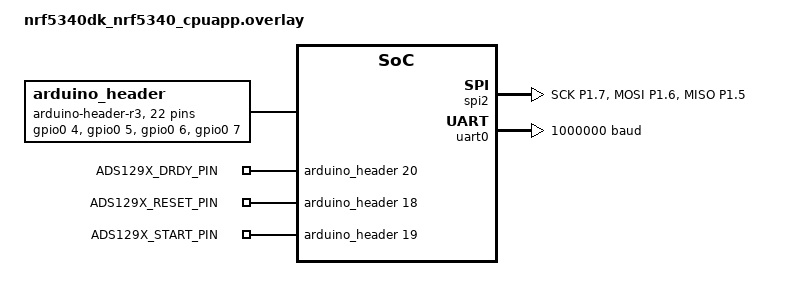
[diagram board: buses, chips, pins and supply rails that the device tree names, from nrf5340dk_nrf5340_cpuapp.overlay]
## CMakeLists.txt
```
#
# Copyright (c) 2018 Nordic Semiconductor
#
# SPDX-License-Identifier: LicenseRef-Nordic-5-Clause
#

cmake_minimum_required(VERSION 3.20.0)

IF(DEFINED CONFIG_BOARD_NRF5340DK_NRF5340_CPUAPP)
set(DTC_OVERLAY_FILE "nrf5340dk_nrf5340_cpuapp.overlay")
ENDIF()

IF(DEFINED CONFIG_BOARD_PARTICLE_XENON)
set(DTC_OVERLAY_FILE "particle_xenon.overlay")
ENDIF()

# load zephyr features and configure project
find_package(Zephyr REQUIRED HINTS $ENV{ZEPHYR_BASE})
project(NONE)

# SERVICE APP START
FILE(GLOB app_service_sources src/app_services/*.c)
zephyr_sources(${app_service_sources})
zephyr_include_directories(include/app_services)
# SERVICE APP END

# NORDIC SDK APP START
FILE(GLOB app_sources src/app/*.c)
target_sources(app PRIVATE ${app_sources})
include_directories("include/app")
# NORDIC SDK APP END

# https://developer.nordicsemi.com/nRF_Connect_SDK/doc/2.0.2/nrf/ug_multi_image.html?highlight=child_image
zephyr_library_include_directories(${ZEPHYR_BASE}/samples/bluetooth)
```

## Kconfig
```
#
# Copyright (c) 2018 Nordic Semiconductor
#
# SPDX-License-Identifier: LicenseRef-Nordic-5-Clause
#

rsource "src/app_services/Kconfig.performance_test"

config ADS129x_RINGBUFF
    bool "Enable ringbuff"
    help
     Enable ringbuff.


config ADS129x_PIPE
    bool "Enable pipe"
    help
     Enable ringbuff.


source "Kconfig.zephyr"
```

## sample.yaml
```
sample:
  name: BLE performance_test
  description: Bluetooth Low Energy performance test sample
tests:
  samples.bluetooth.performance_test:
    build_only: true
    platform_allow: nrf52dk_nrf52832 nrf52840dk_nrf52840 nrf5340dk_nrf5340_cpuapp nrf5340dk_nrf5340_cpuapp_ns particle_xenon
    integration_platforms:
      - nrf52dk_nrf52832
      - nrf52840dk_nrf52840
      - nrf5340dk_nrf5340_cpuapp
      - nrf5340dk_nrf5340_cpuapp_ns
      - particle_xenon
    tags: bluetooth ci_build
```

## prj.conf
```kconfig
#
# Copyright (c) 2018 Nordic Semiconductor
#
# SPDX-License-Identifier: LicenseRef-Nordic-5-Clause
#

CONFIG_SHELL=y

CONFIG_BT_DEVICE_NAME="Nordic_Performance_Test"
CONFIG_BT=y
CONFIG_BT_DEBUG_LOG=y
CONFIG_BT_SMP=y
CONFIG_BT_PERIPHERAL=y
CONFIG_BT_CENTRAL=y
CONFIG_BT_MAX_CONN=2

CONFIG_BT_SCAN=y
CONFIG_BT_SCAN_FILTER_ENABLE=y
CONFIG_BT_SCAN_UUID_CNT=1

CONFIG_BT_PERF_TEST=y

CONFIG_BT_GATT_DM=y
CONFIG_HEAP_MEM_POOL_SIZE=2048

CONFIG_BT_USER_DATA_LEN_UPDATE=y
CONFIG_BT_USER_PHY_UPDATE=y
CONFIG_BT_GAP_AUTO_UPDATE_CONN_PARAMS=n

CONFIG_BT_BUF_ACL_RX_SIZE=251
CONFIG_BT_GATT_CLIENT=y
CONFIG_BT_ATT_PREPARE_COUNT=2
CONFIG_BT_CONN_TX_MAX=10
CONFIG_BT_L2CAP_TX_BUF_COUNT=10
CONFIG_BT_L2CAP_TX_MTU=247
CONFIG_BT_L2CAP_DYNAMIC_CHANNEL=y
CONFIG_BT_CTLR_PHY_2M=y
CONFIG_BT_CTLR_RX_BUFFERS=2
CONFIG_BT_BUF_ACL_TX_COUNT=10
CONFIG_BT_BUF_ACL_TX_SIZE=251
CONFIG_BT_CTLR_DATA_LENGTH_MAX=251

CONFIG_DK_LIBRARY=y
CONFIG_DK_LIBRARY_DYNAMIC_BUTTON_HANDLERS=y
```

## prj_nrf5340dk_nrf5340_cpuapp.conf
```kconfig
#
# Copyright (c) 2019 Nordic Semiconductor
#
# SPDX-License-Identifier: LicenseRef-Nordic-5-Clause
#

CONFIG_BT_DEVICE_NAME="Nordic_Performance_Test"
CONFIG_BT=y
CONFIG_BT_SMP=y
CONFIG_BT_PERIPHERAL=y
CONFIG_BT_CENTRAL=y
CONFIG_BT_MAX_CONN=5
CONFIG_BT_REMOTE_VERSION=y
CONFIG_BT_REMOTE_INFO=y

# rpmsg
# https://docs.zephyrproject.org/3.1.0/connectivity/bluetooth/bluetooth-arch.html?highlight=config_bt_ctlr
CONFIG_BT_RPMSG=y
CONFIG_IPC_SERVICE_BACKEND_RPMSG_WQ_STACK_SIZE=4096
CONFIG_IPC_SERVICE_BACKEND_RPMSG_NUM_ENDPOINTS_PER_INSTANCE=6
CONFIG_NUM_MBOX_ASYNC_MSGS=20
CONFIG_SYSTEM_WORKQUEUE_STACK_SIZE=2048

CONFIG_BT_SCAN=y
CONFIG_BT_SCAN_FILTER_ENABLE=y
CONFIG_BT_SCAN_UUID_CNT=1

# add service
CONFIG_BT_GATT_CLIENT=y
CONFIG_BT_GATT_DM=y
CONFIG_BT_PERF_TEST=y

# add config update possibility
CONFIG_BT_USER_DATA_LEN_UPDATE=y
CONFIG_BT_USER_PHY_UPDATE=y
CONFIG_BT_GAP_AUTO_UPDATE_CONN_PARAMS=n
CONFIG_BT_DATA_LEN_UPDATE=y

# mtu settings
CONFIG_BT_ATT_PREPARE_COUNT=5
CONFIG_BT_L2CAP_TX_BUF_COUNT=5
CONFIG_BT_L2CAP_TX_MTU=498
CONFIG_BT_L2CAP_DYNAMIC_CHANNEL=y
CONFIG_BT_BUF_ACL_RX_COUNT=5
CONFIG_BT_BUF_ACL_TX_COUNT=5
CONFIG_BT_BUF_ACL_TX_SIZE=502
CONFIG_BT_BUF_ACL_RX_SIZE=502
CONFIG_BT_BUF_CMD_TX_COUNT=5
CONFIG_BT_BUF_EVT_RX_SIZE=255
CONFIG_BT_GATT_CACHING=y

## system
CONFIG_HEAP_MEM_POOL_SIZE=8192
# CONFIG_MAIN_STACK_SIZE=16384
# CONFIG_HEAP_MEM_POOL_SIZE=16384
# leds, spi cs and other gpio
CONFIG_GPIO=y
CONFIG_MPU_STACK_GUARD=y
CONFIG_THREAD_NAME=y
CONFIG_SCHED_MULTIQ=y
CONFIG_TICKLESS_KERNEL=y
CONFIG_BOOT_BANNER=n
CONFIG_PIPES=y

## serial
CONFIG_SERIAL=y
CONFIG_STDOUT_CONSOLE=y

## logger
CONFIG_LOG=y
#CONFIG_LOG_MODE_MINIMAL=y
CONFIG_LOG_DEFAULT_LEVEL=3
CONFIG_CBPRINTF_NANO=y
CONFIG_LOG_MODE_DEFERRED=y
CONFIG_LOG_SPEED=y
CONFIG_LOG_BUFFER_SIZE=10240
CONFIG_LOG_PROCESS_THREAD_SLEEP_MS=1
CONFIG_LOG_ALWAYS_RUNTIME=y
CONFIG_LOG_BACKEND_FORMAT_TIMESTAMP=n
CONFIG_LOG_BACKEND_UART=n

## shell
CONFIG_SHELL=y          # add normal shell
CONFIG_SHELL_BACKEND_SERIAL=y
CONFIG_SHELL_METAKEYS=y # add ctrl+c

CONFIG_SHELL_BACKEND_SERIAL_LOG_MESSAGE_QUEUE_TIMEOUT=10
CONFIG_SHELL_BACKEND_SERIAL_LOG_MESSAGE_QUEUE_SIZE=256
CONFIG_SHELL_BACKEND_SERIAL_TX_RING_BUFFER_SIZE=8192
CONFIG_SHELL_BACKEND_SERIAL_RX_RING_BUFFER_SIZE=8192
CONFIG_SHELL_PROMPT_UART=":$ "
CONFIG_SHELL_LOG_BACKEND=y
CONFIG_SHELL_LOG_FORMAT_TIMESTAMP=n
CONFIG_SHELL_BACKEND_SERIAL_CHECK_DTR=n

# spi
# https://github.com/nrfconnect/sdk-zephyr/blob/main/drivers/spi/spi_nrfx_spim.c
# https://devzone.nordicsemi.com/f/nordic-q-a/70105/how-to-use-spi-interface-in-a-zephyr-sample-example
# https://devzone.nordicsemi.com/f/nordic-q-a/69034/nrf52840-spi-slave-configuration-event_handler
CONFIG_SPI=y
CONFIG_SPI_NRFX=y
CONFIG_NRFX_SPIM2=y

## shell
## console driver
CONFIG_NRFX_UARTE0=y


# # add tracing
# # https://blog.golioth.io/taking-the-next-step-debugging-with-segger-ozone-and-systemview-on-zephyr/
# CONFIG_TRACING=y
# CONFIG_TRACING_BACKEND_RAM=y

# CONFIG_LOG_BACKEND_RTT=n
# CONFIG_USE_SEGGER_RTT=y
# CONFIG_TRACING_BUFFER_SIZE=32768
# CONFIG_RAM_TRACING_BUFFER_SIZE=32768
# CONFIG_TRACING_PACKET_MAX_SIZE=512
# CONFIG_TRACING_CMD_BUFFER_SIZE=64
# CONFIG_TRACING_THREAD_WAIT_THRESHOLD=50
# CONFIG_TRACING_ASYNC=y
# CONFIG_TRACING_THREAD_STACK_SIZE=4096

# # use allow for faster data access
# # https://developer.arm.com/documentation/den0042/a/Tightly-Coupled-Memory
# CONFIG_SEGGER_SYSTEMVIEW=y
# CONFIG_SEGGER_SYSTEMVIEW_BOOT_ENABLE=n
# CONFIG_SEGGER_SYSVIEW_RTT_BUFFER_SIZE=32768

# ### debug
# CONFIG_THREAD_ANALYZER=y
# CONFIG_THREAD_ANALYZER_USE_LOG=y
# CONFIG_THREAD_ANALYZER_AUTO=y
# CONFIG_THREAD_ANALYZER_AUTO_INTERVAL=5
# CONFIG_THREAD_NAME=y

# clock settings
# https://github.com/zephyrproject-rtos/zephyr/issues/28469#issuecomment-704164283
# https://developer.nordicsemi.com/nRF_Connect_SDK/doc/latest/zephyr/kernel/services/timing/clocks.html
# https://devzone.nordicsemi.com/f/nordic-q-a/92297/increasing-cpu-clock-frequency-for-bl653
# CONFIG_NRF_RTC_TIMER=n
# CONFIG_CORTEX_M_SYSTICK=y
# CONFIG_SYS_CLOCK_HW_CYCLES_PER_SEC=64000000
# CONFIG_SYS_CLOCK_TICKS_PER_SEC=6400000

CONFIG_ADS129x_RINGBUFF=n
CONFIG_ADS129x_PIPE=y

CONFIG_BT_DEVICE_APPEARANCE=833
CONFIG_BT_MAX_CONN=2
CONFIG_BT_MAX_PAIRED=2

CONFIG_SHELL_BT_NUS=y
CONFIG_SHELL_BT_NUS_LOG_LEVEL_DBG=y
CONFIG_SHELL_BT_NUS_LOG_MESSAGE_QUEUE_SIZE=200
CONFIG_SHELL_BT_NUS_TX_RING_BUFFER_SIZE=220
CONFIG_SHELL_BT_NUS_RX_RING_BUFFER_SIZE=220
```

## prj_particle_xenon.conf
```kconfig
#
# Copyright (c) 2019 Nordic Semiconductor
#
# SPDX-License-Identifier: LicenseRef-Nordic-5-Clause
#

CONFIG_BT_DEVICE_NAME="Nordic_Performance_Test"
CONFIG_BT=y
CONFIG_BT_SMP=y
CONFIG_BT_PERIPHERAL=y
CONFIG_BT_CENTRAL=y
CONFIG_BT_MAX_CONN=5
CONFIG_BT_REMOTE_VERSION=y
CONFIG_BT_REMOTE_INFO=y

CONFIG_BT_SCAN=y
CONFIG_BT_SCAN_FILTER_ENABLE=y
CONFIG_BT_SCAN_UUID_CNT=1

# add service
CONFIG_BT_GATT_CLIENT=y
CONFIG_BT_GATT_DM=y
CONFIG_BT_PERF_TEST=y

# add config update possibility
CONFIG_BT_USER_DATA_LEN_UPDATE=y
CONFIG_BT_USER_PHY_UPDATE=y
CONFIG_BT_GAP_AUTO_UPDATE_CONN_PARAMS=n
CONFIG_BT_DATA_LEN_UPDATE=y

# select ll layer
CONFIG_BT_LL_SW_SPLIT=y
CONFIG_BT_LL_SOFTDEVICE=n

# package sizes and buffers
CONFIG_BT_ATT_PREPARE_COUNT=5
CONFIG_BT_L2CAP_TX_BUF_COUNT=5
CONFIG_BT_L2CAP_TX_MTU=498
CONFIG_BT_L2CAP_DYNAMIC_CHANNEL=y
CONFIG_BT_BUF_ACL_RX_COUNT=5
CONFIG_BT_BUF_ACL_TX_COUNT=5
CONFIG_BT_BUF_ACL_TX_SIZE=502
CONFIG_BT_BUF_ACL_RX_SIZE=502
CONFIG_BT_BUF_CMD_TX_COUNT=5
CONFIG_BT_BUF_EVT_RX_SIZE=255
CONFIG_BT_GATT_CACHING=y

CONFIG_BT_HCI=y
CONFIG_BT_HCI_ACL_FLOW_CONTROL=y
CONFIG_BT_CTLR=y
CONFIG_BT_CTLR_CONN_RSSI=y
CONFIG_BT_CTLR_DATA_LENGTH_MAX=251
CONFIG_BT_CTLR_PHY_2M=y
CONFIG_BT_CTLR_PHY_CODED=y
CONFIG_BT_CTLR_RX_BUFFERS=5
#CONFIG_BT_CTLR_SDC_MAX_CONN_EVENT_LEN_DEFAULT=4000000

## system
CONFIG_HEAP_MEM_POOL_SIZE=8192
# CONFIG_MAIN_STACK_SIZE=16384
# CONFIG_HEAP_MEM_POOL_SIZE=16384

# leds, spi cs and other gpio
CONFIG_GPIO=y
#CONFIG_MPU_STACK_GUARD=y
CONFIG_THREAD_NAME=y
CONFIG_SCHED_MULTIQ=y
CONFIG_TICKLESS_KERNEL=y
CONFIG_BOOT_BANNER=n

## serial
CONFIG_SERIAL=y
CONFIG_STDOUT_CONSOLE=y

## logger
CONFIG_LOG=y
#CONFIG_LOG_MODE_MINIMAL=y
CONFIG_LOG_DEFAULT_LEVEL=3
CONFIG_CBPRINTF_NANO=y
CONFIG_LOG_MODE_DEFERRED=y
CONFIG_LOG_SPEED=y
CONFIG_LOG_BUFFER_SIZE=10240
CONFIG_LOG_PROCESS_THREAD_SLEEP_MS=1
CONFIG_LOG_BACKEND_FORMAT_TIMESTAMP=n
CONFIG_LOG_ALWAYS_RUNTIME=y
CONFIG_LOG_BACKEND_FORMAT_TIMESTAMP=n
CONFIG_LOG_BACKEND_UART=n

## shell
CONFIG_SHELL=y          # add normal shell
CONFIG_SHELL_BACKEND_SERIAL=y
CONFIG_SHELL_METAKEYS=y # add ctrl+c

CONFIG_SHELL_BACKEND_SERIAL_LOG_MESSAGE_QUEUE_TIMEOUT=10
CONFIG_SHELL_BACKEND_SERIAL_LOG_MESSAGE_QUEUE_SIZE=1024
CONFIG_SHELL_BACKEND_SERIAL_TX_RING_BUFFER_SIZE=10240
CONFIG_SHELL_BACKEND_SERIAL_RX_RING_BUFFER_SIZE=10240
CONFIG_SHELL_PROMPT_UART=":$ "
CONFIG_SHELL_LOG_BACKEND=y
CONFIG_SHELL_LOG_FORMAT_TIMESTAMP=n
CONFIG_SHELL_BACKEND_SERIAL_CHECK_DTR=n

## spi
# no spi needed

## shell
# console driver
CONFIG_USB_NRFX=y

# Enable USB CDC ACM
CONFIG_USB_DEVICE_STACK=y
CONFIG_USB_DEVICE_REMOTE_WAKEUP=n
CONFIG_USB_CDC_ACM=y
CONFIG_UART_LINE_CTRL=y
CONFIG_SHELL_BACKEND_SERIAL_INIT_PRIORITY=51
#CONFIG_SHELL_BACKEND_SERIAL_CHECK_DTR=y
CONFIG_USB_DEVICE_VID=0x1D50
CONFIG_USB_DEVICE_PID=0x615E
CONFIG_USB_DEVICE_PRODUCT="Particle Slave BLE Tester"

# # add tracing
# # https://blog.golioth.io/taking-the-next-step-debugging-with-segger-ozone-and-systemview-on-zephyr/
# CONFIG_TRACING=y
# CONFIG_TRACING_BACKEND_RAM=y

# CONFIG_LOG_BACKEND_RTT=n
# CONFIG_USE_SEGGER_RTT=y
# CONFIG_TRACING_BUFFER_SIZE=32768
# CONFIG_RAM_TRACING_BUFFER_SIZE=32768
# CONFIG_TRACING_PACKET_MAX_SIZE=512
# CONFIG_TRACING_CMD_BUFFER_SIZE=64
# CONFIG_TRACING_THREAD_WAIT_THRESHOLD=50
# CONFIG_TRACING_ASYNC=y
# CONFIG_TRACING_THREAD_STACK_SIZE=4096

# # use allow for faster data access
# # https://developer.arm.com/documentation/den0042/a/Tightly-Coupled-Memory
# CONFIG_SEGGER_SYSTEMVIEW=y
# CONFIG_SEGGER_SYSTEMVIEW_BOOT_ENABLE=n
# CONFIG_SEGGER_SYSVIEW_RTT_BUFFER_SIZE=32768

# ### debug
# CONFIG_THREAD_ANALYZER=y
# CONFIG_THREAD_ANALYZER_USE_LOG=y
# CONFIG_THREAD_ANALYZER_AUTO=y
# CONFIG_THREAD_ANALYZER_AUTO_INTERVAL=5
# CONFIG_THREAD_NAME=y
```

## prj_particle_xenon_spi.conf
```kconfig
#
# Copyright (c) 2019 Nordic Semiconductor
#
# SPDX-License-Identifier: LicenseRef-Nordic-5-Clause
#

CONFIG_BT_DEVICE_NAME="Nordic_Performance_Test"
CONFIG_BT=y
CONFIG_BT_SMP=y
CONFIG_BT_PERIPHERAL=y
CONFIG_BT_CENTRAL=y
CONFIG_BT_MAX_CONN=2
# CONFIG_BT_DEBUG_LOG=y

# hci
CONFIG_BT_HCI=y
CONFIG_BT_HCI_ACL_FLOW_CONTROL=y
# CONFIG_BT_DEBUG_HCI_DRIVER=y


CONFIG_BT_SCAN=y
CONFIG_BT_SCAN_FILTER_ENABLE=y
CONFIG_BT_SCAN_UUID_CNT=1

# add service
CONFIG_BT_GATT_CLIENT=y
CONFIG_BT_GATT_DM=y
CONFIG_BT_PERF_TEST=y
CONFIG_BT_PERF_TEST_LOG_LEVEL_INF=y

# add config update possibility
CONFIG_BT_USER_DATA_LEN_UPDATE=y
CONFIG_BT_USER_PHY_UPDATE=y
CONFIG_BT_GAP_AUTO_UPDATE_CONN_PARAMS=n
CONFIG_BT_DATA_LEN_UPDATE=y

# select ll layer
CONFIG_BT_LL_SW_SPLIT=y
CONFIG_BT_LL_SOFTDEVICE=n

# mtu settings
CONFIG_BT_ATT_PREPARE_COUNT=7
CONFIG_BT_L2CAP_TX_BUF_COUNT=5
CONFIG_BT_L2CAP_TX_MTU=498
CONFIG_BT_L2CAP_DYNAMIC_CHANNEL=y
CONFIG_BT_BUF_ACL_RX_COUNT=5
CONFIG_BT_BUF_ACL_TX_COUNT=5
CONFIG_BT_BUF_ACL_TX_SIZE=502
CONFIG_BT_BUF_ACL_RX_SIZE=502
CONFIG_BT_BUF_CMD_TX_COUNT=5
CONFIG_BT_BUF_EVT_RX_SIZE=255
CONFIG_BT_GATT_CACHING=y


# controler settings
CONFIG_BT_CTLR=y
CONFIG_BT_CTLR_CONN_RSSI=y
CONFIG_BT_CTLR_DATA_LENGTH_MAX=251
CONFIG_BT_CTLR_PHY_2M=y
CONFIG_BT_CTLR_PHY_CODED=y
CONFIG_BT_CTLR_RX_BUFFERS=2
#CONFIG_BT_CTLR_SDC_MAX_CONN_EVENT_LEN_DEFAULT=4000000

## system
CONFIG_HEAP_MEM_POOL_SIZE=8192
# CONFIG_MAIN_STACK_SIZE=16384
# CONFIG_HEAP_MEM_POOL_SIZE=16384

# leds, spi cs and other gpio
CONFIG_GPIO=y
CONFIG_MPU_STACK_GUARD=y
CONFIG_FPU=y
CONFIG_BOOT_DELAY=500
CONFIG_THREAD_NAME=y
CONFIG_SCHED_MULTIQ=y
CONFIG_TICKLESS_KERNEL=y

## usb
# driver
CONFIG_USB_NRFX=y
CONFIG_NRFX_UARTE0=y

# subsys
CONFIG_USB_CDC_ACM=y
CONFIG_USB_DEVICE_VID=0x1D50
CONFIG_USB_DEVICE_PID=0x615E
CONFIG_USB_DEVICE_STACK=y
CONFIG_USB_DEVICE_PRODUCT="Particle Slave BLE Tester"
CONFIG_USB_CDC_ACM_RINGBUF_SIZE=4096

## serial
CONFIG_STDOUT_CONSOLE=y

## shell
CONFIG_SHELL=y          # add normal shell
CONFIG_SHELL_METAKEYS=y # add ctrl+c

## logger
CONFIG_LOG=y
CONFIG_LOG_DEFAULT_LEVEL=4
CONFIG_LOG_SPEED=y
CONFIG_LOG_BUFFER_SIZE=4096

# spi
# https://github.com/nrfconnect/sdk-zephyr/blob/main/drivers/spi/spi_nrfx_spim.c
# https://devzone.nordicsemi.com/f/nordic-q-a/70105/how-to-use-spi-interface-in-a-zephyr-sample-example
# https://devzone.nordicsemi.com/f/nordic-q-a/69034/nrf52840-spi-slave-configuration-event_handler
CONFIG_SPI=y
CONFIG_SPI_NRFX=y
CONFIG_NRFX_SPIM1=y

# add tracing
# https://blog.golioth.io/taking-the-next-step-debugging-with-segger-ozone-and-systemview-on-zephyr/
CONFIG_TRACING=y
CONFIG_TRACING_BACKEND_RAM=y

CONFIG_LOG_BACKEND_RTT=n
CONFIG_USE_SEGGER_RTT=y
CONFIG_TRACING_BUFFER_SIZE=32768
CONFIG_RAM_TRACING_BUFFER_SIZE=32768
CONFIG_TRACING_PACKET_MAX_SIZE=512
CONFIG_TRACING_CMD_BUFFER_SIZE=64
CONFIG_TRACING_THREAD_WAIT_THRESHOLD=50
CONFIG_TRACING_ASYNC=y
CONFIG_TRACING_THREAD_STACK_SIZE=2048

# use allow for faster data access
# https://developer.arm.com/documentation/den0042/a/Tightly-Coupled-Memory
CONFIG_SEGGER_SYSTEMVIEW=y
CONFIG_SEGGER_SYSTEMVIEW_BOOT_ENABLE=y
CONFIG_SEGGER_SYSVIEW_RTT_BUFFER_SIZE=32768
```

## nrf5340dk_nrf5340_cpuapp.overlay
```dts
&wdt {
    status = "disabled";
};

&wdt1 {
    status = "disabled";
};

&i2c1 {
    status = "disabled";
};

&pwm0 {
    status = "disabled";
};


&pinctrl {
    spi2_default_alt: spi2_default_alt {
        group1 {
            psels = <NRF_PSEL(SPIM_SCK, 1, 7)>,
                    <NRF_PSEL(SPIM_MOSI, 1, 6)>,
                    <NRF_PSEL(SPIM_MISO, 1, 5)>;
        };
    };

};

&spi1 {
    status = "disabled";
};

mbox: &ipc {
	interrupts = <42 3>;
};

nrf53_spi: &spi2 {
    compatible = "nordic,nrf-spim";
    status = "okay";
    cs-gpios = <&gpio1 4 GPIO_ACTIVE_LOW>;
    interrupts = <11 5>;
    pinctrl-0 = <&spi2_default_alt>;
    pinctrl-names = "default";
    miso-pull-down;
};


&spi3 {
    status = "disabled";
};

&spi4 {
    status = "disabled";
};

&qspi {
    status = "disabled";
};

&adc {
    status = "disabled";
};

// https://devzone.nordicsemi.com/f/nordic-q-a/84204/framing-error-and-noisy-data-when-using-uarte-at-high-baud-rate/350747
&uart0 {
    status = "okay";
    compatible = "nordic,nrf-uarte";
    current-speed = <1000000>;
    interrupts = <8 4>;
    pinctrl-0 = <&uart0_default>;
    pinctrl-1 = <&uart0_sleep>;
    pinctrl-names = "default", "sleep";
    /delete-property/ rts-pin;
    /delete-property/ cts-pin;
};

&gpiote1 {
    interrupts = <47 2>;
};

/ {
    arduino_header: connector {
        compatible = "arduino-header-r3";
        #gpio-cells = <2>;
        gpio-map-mask = <0xffffffff 0xffffffc0>;
        gpio-map-pass-thru = <0 0x3f>;
        gpio-map = <0 0 &gpio0 4 0>,	/* A0 */
            <1 0 &gpio0 5 0>,	/* A1 */
            <2 0 &gpio0 6 0>,	/* A2 */
            <3 0 &gpio0 7 0>,	/* A3 */
            <4 0 &gpio0 25 0>,	/* A4 */
            <5 0 &gpio0 26 0>,	/* A5 */

            <6 0 &gpio1 0 0>,	/* D0 */
            <7 0 &gpio1 1 0>,	/* D1 */
            <8 0 &gpio1 4 0>,	/* D2 */
            <9 0 &gpio1 5 0>,	/* D3 */
            <10 0 &gpio1 6 0>,	/* D4 */
            <11 0 &gpio1 7 0>,	/* D5 */
            <12 0 &gpio1 8 0>,	/* D6 */
            <13 0 &gpio1 9 0>,	/* D7 */

            <14 0 &gpio1 10 0>,	/* D8 */
            <15 0 &gpio1 11 0>,	/* D9 */
            <16 0 &gpio1 12 0>,	/* D10 */
            <17 0 &gpio1 13 0>,	/* D11 */
            <18 0 &gpio1 14 0>,	/* D12 */
            <19 0 &gpio1 15 0>,	/* D13 */
            /* GND */
            <20 0 &gpio1 2 0>,	/* D15 */
            <21 0 &gpio1 3 0>;	/* D16 */
    };

    intput_pins {
        /*
         * GPIO interupts are defined in GPIOE
         * it's becasue all NRFX events are redirected form this module
         */
        compatible = "gpio-keys";
        ads129x_drdy: ads129x_drdy {
            gpios = <&arduino_header 20 GPIO_ACTIVE_HIGH>;
            label = "ADS129X_DRDY_PIN";
        };
    };

    output_pins {
        compatible = "gpio-leds";
        ads129x_reset: ads129x_reset {
            gpios = <&arduino_header 18 GPIO_ACTIVE_HIGH>;
            label = "ADS129X_RESET_PIN";
        };

        ads129x_start: ads129x_start {
            gpios = <&arduino_header 19 GPIO_ACTIVE_HIGH>;
            label = "ADS129X_START_PIN";
        };
    };

    /* disable other resources */
    pwmleds {
        compatible = "pwm-leds";
        pwm_led0: pwm_led_0 {
            status = "disabled";
        };
    };

    buttons {
        button0: button_0 {
            status = "disabled";
        };
        button1: button_1 {
            status = "disabled";
        };
        button2: button_2 {
            status = "disabled";
        };
        button3: button_3 {
            status = "disabled";
        };
    };

    // chosen {
    //     zephyr,console = &cdc_acm_1;
    // };
};
```

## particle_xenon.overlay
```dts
&uart0 {
    /delete-property/ rts-pin;
    /delete-property/ cts-pin;
    status = "disabled";
};

zephyr_udc0: &usbd {
    compatible = "nordic,nrf-usbd";
    status = "okay";
    cdc_acm_uart0: cdc_acm_uart0 {
        status = "okay";
        compatible = "zephyr,cdc-acm-uart";
    };
};

feather_adc: &adc {
	status = "disabled";
};

feather_i2c: &i2c0 {
    status = "disabled";
};

&pinctrl {
	spi1_default: spi1_default {
		group1 {
			psels = <NRF_PSEL(SPIM_SCK, 1, 15)>,
				<NRF_PSEL(SPIM_MOSI, 1, 13)>,
				<NRF_PSEL(SPIM_MISO, 1, 14)>;
		};
	};
};


nrf53_spi: &spi1 { /* feather SPI */
	compatible = "nordic,nrf-spim";
	status = "okay";
	pinctrl-0 = <&spi1_default>;
	pinctrl-names = "default";
	cs-gpios = <&gpio0 31 GPIO_ACTIVE_LOW>;
    miso-pull-down;
};

/ {
    intput_pins {
        compatible = "gpio-keys";
        ads129x_drdy: ads129x_drdy {
            gpios = <&mesh_header 17 GPIO_ACTIVE_HIGH>;
            label = "ADS129X_DRDY_PIN";
        };
    };

    output_pins {
        compatible = "gpio-leds";
        ads129x_reset: ads129x_reset {
            gpios = <&mesh_header 18 GPIO_ACTIVE_HIGH>;
            label = "ADS129X_RESET_PIN";
        };

        ads129x_start: ads129x_start {
            gpios = <&mesh_header 19 GPIO_ACTIVE_HIGH>;
            label = "ADS129X_START_PIN";
        };
    };

    chosen {
        zephyr,console = &cdc_acm_uart0;
        zephyr,shell-uart = &cdc_acm_uart0;
    };
};
```

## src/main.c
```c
/*
 * Copyright (c) 2018 Nordic Semiconductor ASA
 *
 * SPDX-License-Identifier: LicenseRef-Nordic-5-Clause
 */

#include <kernel.h>
#include <sys/printk.h>
#include <string.h>
#include <stdlib.h>

#include <app_usb.h>
#include <cmds.h>
#include <pio.h>
#include <bt_test.h>

void main(void)
{
    bt_init();
    app_usb_init();
    buttons_init();

    printk("\n");
    printk("Press button 1 on the master board.\n");
    printk("Press button 2 on the slave board.\n");
}
```

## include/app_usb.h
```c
#ifndef _APP_USB_H_

void app_usb_init(void);

#endif // _APP_USB_H_
```

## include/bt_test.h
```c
#ifndef _BT_TEST_H_
#define _BT_TEST_H_

#include <bluetooth/bluetooth.h>
#include <bluetooth/crypto.h>
#include <bluetooth/conn.h>
#include <bluetooth/gatt.h>
#include <bluetooth/hci.h>
#include <bluetooth/uuid.h>
#include <bluetooth/services/throughput.h>
#include <bluetooth/scan.h>
#include <bluetooth/gatt_dm.h>

#include <shell/shell.h>

#define DEVICE_NAME	CONFIG_BT_DEVICE_NAME
#define DEVICE_NAME_LEN (sizeof(DEVICE_NAME) - 1)
#define THROUGHPUT_CONFIG_TIMEOUT K_SECONDS(20)

void bt_init(void);
struct bt_conn* getSettings(void);
volatile bool isTestReady(void);

void scan_start(void);
void adv_start(void);

int connection_configuration_set(const struct shell *shell,
                                 const struct bt_le_conn_param *conn_param,
                                 const struct bt_conn_le_phy_param *phy,
                                 const struct bt_conn_le_data_len_param *data_len);


extern struct bt_throughput throughput;
extern struct k_sem throughput_sem;
#endif /* _BT_TEST_H_ */
```

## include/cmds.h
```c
#ifndef _CMDS_H_
#define _CMDS_H_

#include <bluetooth/conn.h>

#include <errno.h>
#include <shell/shell.h>
#include <zephyr/types.h>
#include <sys/printk.h>

#include <stdlib.h>

#define INTERVAL_MIN 0x004 /*   4 units,  10 ms */
#define INTERVAL_MAX 0x140 /* 320 units, 400 ms */
#define CONN_LATENCY 0
#define UNIT_SCALER  1.25

#define MIN_CONN_INTERVAL   6
#define MAX_CONN_INTERVAL   3200
#define SUPERVISION_TIMEOUT 1000

enum CONNECTION_MODE {
	CONNECTION_MASTER,
	CONNECTION_SLAVE
};
typedef struct {
	struct bt_le_conn_param *conn_param;
	struct bt_conn_le_phy_param *phy;
	struct bt_conn_le_data_len_param *data_len;
	bool   enable_rssi;
} test_params_t;

void instruction_print(void);

#endif /* _CMDS_H_ */
```

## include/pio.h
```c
#ifndef _PIO_H_
#define _PIO_H_

void buttons_init(void);



#endif /* _PIO_H_ */
```

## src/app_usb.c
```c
/**
 * @file
 * @brief Sample echo app for CDC ACM class
 *
 * Sample app for USB CDC ACM class driver. The received data is echoed back
 * to the serial port.
 */

#include <device.h>
#include <zephyr.h>

#include <usb/usb_device.h>

/*
 * Copyright (c) 2019 Intel Corporation
 *
 * SPDX-License-Identifier: Apache-2.0
 */

/**
 * @file
 * @brief Sample echo app for CDC ACM class
 *
 * Sample app for USB CDC ACM class driver. The received data is echoed back
 * to the serial port.
 */

#include <app_usb.h>
#include <stdio.h>
#include <string.h>
#include <device.h>
#include <zephyr.h>
#include <nrfx.h>
#include <usb/usb_device.h>
#include <sys/printk.h>

void app_usb_init(void)
{
#ifdef CONFIG_BOARD_PARTICLE_XENON

	const struct device *dev;
	int ret = 0;

	dev = DEVICE_DT_GET(DT_CHOSEN(zephyr_console));
	if (!device_is_ready(dev)) {
		printk("CDC ACM device not ready");
		return;
	}

	ret = usb_enable(NULL);
	if (ret != 0) {
		printk("Failed to enable USB");
		return;
	}

#endif
}
```

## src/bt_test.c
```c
#include <bt_test.h>
#include <zephyr/types.h>
#include <cmds.h>
#include <sys/byteorder.h>

K_SEM_DEFINE(performance_test_sem, 0, 1);

static volatile bool data_length_req;
static volatile bool test_ready;
struct bt_conn *default_conn;
static struct bt_uuid *uuid128 = BT_UUID_PERF_TEST;
static struct bt_gatt_exchange_params exchange_params;
static struct bt_le_conn_param *conn_param = BT_LE_CONN_PARAM(INTERVAL_MIN, INTERVAL_MAX, 0, 400);

struct bt_performance_test performance_test;
extern const struct bt_performance_test_cb performance_test_cb;

struct bt_conn* getSettings(void) {
    return default_conn;
}

volatile bool isTestReady(void) {
    return test_ready;
}


static const struct bt_data ad[] = {
    BT_DATA_BYTES(BT_DATA_FLAGS, (BT_LE_AD_GENERAL | BT_LE_AD_NO_BREDR)),
    BT_DATA_BYTES(BT_DATA_UUID128_ALL,
        0xBB, 0x4A, 0xFF, 0x4F, 0xAD, 0x03, 0x41, 0x5D,
        0xA9, 0x6C, 0x9D, 0x6C, 0xDD, 0xDA, 0x83, 0x04),
};

static const struct bt_data sd[] = {
    BT_DATA(BT_DATA_NAME_COMPLETE, DEVICE_NAME, DEVICE_NAME_LEN),
};

static const char *phy2str(uint8_t phy)
{
    switch (phy) {
    case 0: return "No packets";
    case BT_GAP_LE_PHY_1M: return "LE 1M";
    case BT_GAP_LE_PHY_2M: return "LE 2M";
    case BT_GAP_LE_PHY_CODED: return "LE Coded";
    default: return "Unknown";
    }
}

// ##### SCAN

void scan_filter_match(struct bt_scan_device_info *device_info,
               struct bt_scan_filter_match *filter_match,
               bool connectable)
{
    char addr[BT_ADDR_LE_STR_LEN];

    bt_addr_le_to_str(device_info->recv_info->addr, addr, sizeof(addr));

    printk("Filters matched. Address: %s connectable: %d\n",
        addr, connectable);
}

void scan_filter_no_match(struct bt_scan_device_info *device_info,
              bool connectable)
{
    char addr[BT_ADDR_LE_STR_LEN];

    bt_addr_le_to_str(device_info->recv_info->addr, addr, sizeof(addr));

    printk("Filter not match. Address: %s connectable: %d\n",
                addr, connectable);
}

void scan_connecting_error(struct bt_scan_device_info *device_info)
{
    printk("Connecting failed\n");
}

BT_SCAN_CB_INIT(scan_cb, scan_filter_match, scan_filter_no_match,
        scan_connecting_error, NULL);

// ##### End

static void exchange_func(struct bt_conn *conn, uint8_t att_err,
              struct bt_gatt_exchange_params *params)
{
    struct bt_conn_info info = {0};
    int err;

    printk("MTU exchange %s\n", att_err == 0 ? "successful" : "failed");

    err = bt_conn_get_info(conn, &info);
    if (err) {
        printk("Failed to get connection info %d\n", err);
        return;
    }

    if (info.role == BT_CONN_ROLE_CENTRAL) {
        instruction_print();
        test_ready = true;
    }
}

static void discovery_complete(struct bt_gatt_dm *dm,
                   void *context)
{
    int err;
    struct bt_performance_test *performance_test = context;

    printk("Service discovery completed\n");

    bt_gatt_dm_data_print(dm);
    bt_performance_test_handles_assign(dm, performance_test);
    bt_gatt_dm_data_release(dm);

    exchange_params.func = exchange_func;

    err = bt_gatt_exchange_mtu(default_conn, &exchange_params);
    if (err) {
        printk("MTU exchange failed (err %d)\n", err);
    } else {
        printk("MTU exchange pending\n");
    }
}

static void discovery_service_not_found(struct bt_conn *conn,
                    void *context)
{
    printk("Service not found\n");
}

static void discovery_error(struct bt_conn *conn,
                int err,
                void *context)
{
    printk("Error while discovering GATT database: (%d)\n", err);
}

struct bt_gatt_dm_cb discovery_cb = {
    .completed         = discovery_complete,
    .service_not_found = discovery_service_not_found,
    .error_found       = discovery_error,
};

static void connected(struct bt_conn *conn, uint8_t hci_err)
{
    struct bt_conn_info info = {0};
    int err;

    if (hci_err) {
        if (hci_err == BT_HCI_ERR_UNKNOWN_CONN_ID) {
            /* Canceled creating connection */
            return;
        }

        printk("Connection failed (err 0x%02x)\n", hci_err);
        return;
    }

    if (default_conn) {
        printk("Connection exists, disconnect second connection\n");
        bt_conn_disconnect(conn, BT_HCI_ERR_REMOTE_USER_TERM_CONN);
        return;
    }

    default_conn = bt_conn_ref(conn);

    err = bt_conn_get_info(default_conn, &info);
    if (err) {
        printk("Failed to get connection info %d\n", err);
        return;
    }

    printk("Connected as %s\n", info.role == BT_CONN_ROLE_CENTRAL ? "central" : "peripheral");
    printk("Conn. interval is %u units (%u ms)\n", info.le.interval, (uint32_t)(info.le.interval*UNIT_SCALER));

    if (info.role == BT_CONN_ROLE_CENTRAL) {
        err = bt_gatt_dm_start(default_conn,
                       BT_UUID_PERF_TEST,
                       &discovery_cb,
                       &performance_test);

        if (err) {
            printk("Discover failed (err %d)\n", err);
        }
    }
}

static void scan_init(void)
{
    int err;
    struct bt_le_scan_param scan_param = {
        .type = BT_LE_SCAN_TYPE_PASSIVE,
        .options = BT_LE_SCAN_OPT_FILTER_DUPLICATE,
        .interval = 0x0010,
        .window = 0x0010,
    };

    struct bt_scan_init_param scan_init = {
        .connect_if_match = 1,
        .scan_param = &scan_param,
        .conn_param = conn_param
    };

    bt_scan_init(&scan_init);
    bt_scan_cb_register(&scan_cb);

    err = bt_scan_filter_add(BT_SCAN_FILTER_TYPE_UUID, uuid128);
    if (err) {
        printk("Scanning filters cannot be set\n");

        return;
    }

    err = bt_scan_filter_enable(BT_SCAN_UUID_FILTER, false);
    if (err) {
        printk("Filters cannot be turned on\n");
    }
}

void scan_start(void)
{
    // think of bt_le_scan_start
    int err = bt_scan_start(BT_SCAN_TYPE_SCAN_PASSIVE);
    if (err) {
        printk("Starting scanning failed (err %d)\n", err);
        return;
    }
}

void adv_start(void)
{
    struct bt_le_adv_param *adv_param =
        BT_LE_ADV_PARAM(BT_LE_ADV_OPT_CONNECTABLE | BT_LE_ADV_OPT_ONE_TIME,
                BT_GAP_ADV_FAST_INT_MIN_2,
                BT_GAP_ADV_FAST_INT_MAX_2,
                NULL);
    int err;

    err = bt_le_adv_start(adv_param, ad, ARRAY_SIZE(ad), sd,
                  ARRAY_SIZE(sd));
    if (err) {
        printk("Failed to start advertiser (%d)\n", err);
        return;
    }
}

static void disconnected(struct bt_conn *conn, uint8_t reason)
{
    struct bt_conn_info info = {0};
    int err;

    printk("Disconnected (reason 0x%02x)\n", reason);

    test_ready = false;
    if (default_conn) {
        bt_conn_unref(default_conn);
        default_conn = NULL;
    }

    err = bt_conn_get_info(conn, &info);
    if (err) {
        printk("Failed to get connection info (%d)\n", err);
        return;
    }

    /* Re-connect using same roles */
    if (info.role == BT_CONN_ROLE_CENTRAL) {
        scan_start();
    } else {
        adv_start();
    }
}

static bool le_param_req(struct bt_conn *conn, struct bt_le_conn_param *param)
{
    printk("Connection parameters update request received.\n");
    printk("Minimum interval: %d (%d ms), Maximum interval: %d (%d ms)\n",	param->interval_min,
                                                                            (uint32_t)(param->interval_min*UNIT_SCALER),
                                                                            param->interval_max,
                                                                            (uint32_t)(param->interval_max*UNIT_SCALER));
    printk("Latency: %d, Timeout: %d\n", param->latency, param->timeout);

    return true;
}

static void le_param_updated(struct bt_conn *conn, uint16_t interval,
                 uint16_t latency, uint16_t timeout)
{
    printk("Connection parameters updated.\n"
           " interval: %d (%d ms), latency: %d, timeout: %d\n",
           interval,  (uint32_t)(interval*UNIT_SCALER), latency, timeout);

    k_sem_give(&performance_test_sem);
}

static void le_phy_updated(struct bt_conn *conn,
               struct bt_conn_le_phy_info *param)
{
    printk("LE PHY updated: TX PHY %s, RX PHY %s\n",
           phy2str(param->tx_phy), phy2str(param->rx_phy));

    k_sem_give(&performance_test_sem);
}

static void le_data_length_updated(struct bt_conn *conn,
                   struct bt_conn_le_data_len_info *info)
{
    if (!data_length_req) {
        return;
    }

    printk("LE data len updated: TX (len: %d time: %d)"
           " RX (len: %d time: %d)\n", info->tx_max_len,
           info->tx_max_time, info->rx_max_len, info->rx_max_time);

    data_length_req = false;
    k_sem_give(&performance_test_sem);
}

int connection_configuration_set(const struct shell *shell,
            const struct bt_le_conn_param *conn_param,
            const struct bt_conn_le_phy_param *phy,
            const struct bt_conn_le_data_len_param *data_len)
{
    int err;
    struct bt_conn_info info = {0};

    err = bt_conn_get_info(default_conn, &info);
    if (err) {
        shell_error(shell, "Failed to get connection info %d", err);
        return err;
    }

    if (info.role != BT_CONN_ROLE_CENTRAL) {
        shell_error(shell,
        "'run' command shall be executed only on the master board");
    }

    err = bt_conn_le_phy_update(default_conn, phy);
    if (err) {
        shell_error(shell, "PHY update failed: %d\n", err);
        return err;
    }

    shell_print(shell, "PHY update pending");
    err = k_sem_take(&performance_test_sem, PERF_TEST_CONFIG_TIMEOUT);
    if (err) {
        shell_error(shell, "PHY update timeout");
        return err;
    }

    if (info.le.data_len->tx_max_len != data_len->tx_max_len) {
        data_length_req = true;

        err = bt_conn_le_data_len_update(default_conn, data_len);
        if (err) {
            shell_error(shell, "LE data length update failed: %d",
                    err);
            return err;
        }

        shell_print(shell, "LE Data length update pending");
        err = k_sem_take(&performance_test_sem, PERF_TEST_CONFIG_TIMEOUT);
        if (err) {
            shell_error(shell, "LE Data Length update timeout");
            return err;
        }
    }

    if (info.le.interval != conn_param->interval_max) {
        err = bt_conn_le_param_update(default_conn, conn_param);
        if (err) {
            shell_error(shell,
                    "Connection parameters update failed: %d",
                    err);
            return err;
        }

        shell_print(shell, "Connection parameters update pending");
        err = k_sem_take(&performance_test_sem, PERF_TEST_CONFIG_TIMEOUT);
        if (err) {
            shell_error(shell,
                    "Connection parameters update timeout");
            return err;
        }
    }

    return 0;
}

void bt_init(void) {
    int err = -1;

    static struct bt_conn_cb conn_callbacks = {
        .connected = connected,
        .disconnected = disconnected,
        .le_param_req = le_param_req,
        .le_param_updated = le_param_updated,
        .le_phy_updated = le_phy_updated,
        .le_data_len_updated = le_data_length_updated
    };

    printk("Starting Bluetooth Performance test example\n");

    bt_conn_cb_register(&conn_callbacks);

    err = bt_enable(NULL);
    if (err) {
        printk("Bluetooth init failed (err %d)\n", err);
        return;
    }

    printk("Bluetooth initialized\n");

    scan_init();

    err = bt_performance_test_init(&performance_test, &performance_test_cb);
    if (err) {
        printk("Performance test service initialization failed.\n");
        return;
    }
}
```

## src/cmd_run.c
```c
#include <cmds.h>
#include <bt_test.h>
#include "img_file.h"
#include <sys/byteorder.h>

extern test_params_t test_params;
extern struct bt_conn *default_conn;
/* a dummy data buffer */
static uint8_t dummy[256];

static void get_rssi_power(struct bt_conn *conn)
{
    uint16_t conn_handle;

    int err = bt_hci_get_conn_handle(conn, &conn_handle);

    if (err)
    {
        printk("No connection handle (err %d)", err);
        return;
    }

    struct bt_hci_cp_read_rssi *cp;
    struct bt_hci_rp_read_rssi *rp;
    struct net_buf *buf;
    struct net_buf *rsp = NULL;

    buf = bt_hci_cmd_create(BT_HCI_OP_READ_RSSI, sizeof(*cp));
    if (!buf)
    {
        printk("Cannot allocate buffer to get RSSI power");
        return;
    }

    cp = net_buf_add(buf, sizeof(*cp));
    cp->handle = sys_cpu_to_le16(conn_handle);

    err = bt_hci_cmd_send_sync(BT_HCI_OP_READ_RSSI, buf, &rsp);
    if (err)
    {
        printk("Get rssi power value (err: %d)\n", err);
    }
    else
    {
        rp = (struct bt_hci_rp_read_rssi *)(rsp->data);
        printk("RSSI power returned by command: %" PRId8 "\n", rp->rssi);
    }

    if (rsp)
    {
        net_buf_unref(rsp);
    }
}

static void get_tx_power(struct bt_conn *conn)
{
    struct bt_conn_le_tx_power tx_power = {.phy = 0};
    int error = bt_conn_le_get_tx_power_level(conn, &tx_power);
    if (!error)
    {
        printk("TX power returned by command: %" PRId8 "\n", tx_power.current_level);
    }
}

static uint8_t performance_test_read(const struct bt_performance_test_metrics *met)
{
    printk("[peer] received %u bytes (%u KB)"
           " in %u GATT writes at %u bps\n",
           met->write_len, met->write_len / 1024, met->write_count,
           met->write_rate);

    k_sem_give(&performance_test_sem);

    return BT_GATT_ITER_STOP;
}

static void performance_test_received(const struct bt_performance_test_metrics *met)
{
    static uint32_t kb = 0;
    static bool enter = true;

    /* init case for new package sent */
    if (met->write_len == 0)
    {
        kb = 0;
        printk("\n");
        enter = false;
        return;
    }

    if ((met->write_len / 1024) != kb)
    {
        kb = (met->write_len / 1024);
        printk("=");
        enter = true;
    }

    /* add formatting */
    if (!(kb % 64) && enter)
    {
        printk("\n");
        get_rssi_power(default_conn);
        get_tx_power(default_conn);
        enter = false;
    }
}

static void performance_test_send(const struct bt_performance_test_metrics *met)
{
    printk("\n[local] received %u bytes (%u KB)"
           " in %u GATT writes at %u bps\n",
           met->write_len, met->write_len / 1024,
           met->write_count, met->write_rate);
}

const struct bt_performance_test_cb performance_test_cb = {
    .data_read = performance_test_read,
    .data_received = performance_test_received,
    .data_send = performance_test_send};

int test_init(const struct shell *shell,
              const struct bt_le_conn_param *conn_param,
              const struct bt_conn_le_phy_param *phy,
              const struct bt_conn_le_data_len_param *data_len)
{
    int err;

    if (!getSettings())
    {
        shell_error(shell, "Device is disconnected %s",
                    "Connect to the peer device before running test");
        return -EFAULT;
    }

    if (!isTestReady())
    {
        shell_error(shell, "Device is not ready."
                           "Please wait for the service discovery and MTU exchange end");
        return 0;
    }

    shell_print(shell, "\n==== Starting performance test ====");

    err = connection_configuration_set(shell, conn_param, phy, data_len);
    if (err)
    {
        return err;
    }

    /* reset peer metrics */
    err = bt_performance_test_write(&performance_test, dummy, 1);
    if (err)
    {
        shell_error(shell, "Reset peer metrics failed.");
        return err;
    }

    /* Make sure that all BLE procedures are finished. */
    k_sleep(K_MSEC(500));
    return 0;
}

int test_run(const struct shell *shell,
             const struct bt_le_conn_param *conn_param,
             const struct bt_conn_le_phy_param *phy,
             const struct bt_conn_le_data_len_param *data_len)
{
    int64_t stamp;
    int64_t delta;
    uint32_t prog = 0;
    uint32_t data = 0;
    int err;

    err = test_init(shell, conn_param, phy, data_len);
    if (err)
    {
        shell_error(shell, "GATT read failed (err %d)", err);
        return err;
    }

    /* get cycle stamp */
    stamp = k_uptime_get_32();

    while (prog < IMG_SIZE)
    {
        err = bt_performance_test_write(&performance_test, dummy, 244);
        if (err)
        {
            shell_error(shell, "GATT write failed (err %d)", err);
            break;
        }

        /* print graphics */
        printk("%c", img[prog / IMG_X][prog % IMG_X]);
        data += 244;
        prog++;
    }

    delta = k_uptime_delta(&stamp);

    printk("\nDone\n");
    printk("[local] sent %u bytes (%u KB) in %lld ms at %llu kbps\n",
           data, data / 1024, delta, ((uint64_t)data * 8 / delta));

    /* read back char from peer */
    err = bt_performance_test_read(&performance_test);
    if (err)
    {
        shell_error(shell, "GATT read failed (err %d)", err);
        return err;
    }

    k_sem_take(&performance_test_sem, PERF_TEST_CONFIG_TIMEOUT);

    instruction_print();

    return 0;
}

static int test_run_cmd(const struct shell *shell, size_t argc,
                        char **argv)
{
    return test_run(shell, test_params.conn_param, test_params.phy,
                    test_params.data_len);
}

int test_run_ber_alternating(const struct shell *shell,
                             const struct bt_le_conn_param *conn_param,
                             const struct bt_conn_le_phy_param *phy,
                             const struct bt_conn_le_data_len_param *data_len)
{
    int64_t stamp;
    int64_t delta;
    uint32_t prog = 0;
    uint32_t data = 0;
    int err;

    err = test_init(shell, conn_param, phy, data_len);
    if (err)
    {
        shell_error(shell, "GATT read failed (err %d)", err);
        return err;
    }

    for (int i = 0; i < 256; i++)
    {
        if (i % 4 > 1)
        {
            dummy[i] = '1';
        }
        else
        {
            dummy[i] = '0';
        }
    }

    /* get cycle stamp */
    stamp = k_uptime_get_32();

    while (prog < IMG_SIZE)
    {
        err = bt_performance_test_write(&performance_test, dummy, 256);
        if (err)
        {
            shell_error(shell, "GATT write failed (err %d)", err);
            break;
        }

        /* print graphics */
        printk("%c", img[prog / IMG_X][prog % IMG_X]);
        data += 244;
        prog++;
    }

    delta = k_uptime_delta(&stamp);

    printk("\nDone\n");
    printk("[local] sent %u bytes (%u KB) in %lld ms at %llu kbps\n",
           data, data / 1024, delta, ((uint64_t)data * 8 / delta));

    /* read back char from peer */
    err = bt_performance_test_read(&performance_test);
    if (err)
    {
        shell_error(shell, "GATT read failed (err %d)", err);
        return err;
    }

    k_sem_take(&performance_test_sem, PERF_TEST_CONFIG_TIMEOUT);

    instruction_print();

    return 0;
}

SHELL_STATIC_SUBCMD_SET_CREATE(sub_bt_test,
                               SHELL_CMD(ber_alternating, NULL, "Tests ber signal with pattern |11|00|11|00", default_cmd),
                               SHELL_CMD(ber_oppsed, NULL, "Tests ber signal with pattern |10|10|10|10", default_cmd),
                               SHELL_CMD(analog_sim, NULL, "Tests with simulated ECC signal", default_cmd),
                               SHELL_CMD(analog, NULL, "Tests with ECC signal", default_cmd),
                               SHELL_CMD(test_picture, NULL, "Tests transition with example picture", test_run_cmd),
                               SHELL_SUBCMD_SET_END);

SHELL_CMD_REGISTER(run, &sub_bt_test, "Run the test", default_cmd);
```

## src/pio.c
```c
#include <dk_buttons_and_leds.h>
#include <pio.h>
#include <sys/printk.h>
#include <bt_test.h>

static void button_handler_cb(uint32_t button_state, uint32_t has_changed);

static struct button_handler button = {
    .cb = button_handler_cb,
};

static void button_handler_cb(uint32_t button_state, uint32_t has_changed)
{
    int err;
    uint32_t buttons = button_state & has_changed;

    if (buttons & (DK_BTN1_MSK | DK_BTN2_MSK))
    {
#ifdef CONFIG_BOARD_PARTICLE_XENON
        printk("\nSlave role. Starting advertising\n");
        adv_start();
#elif CONFIG_BOARD_NRF5340DK_NRF5340_CPUAPP
        printk("\nMaster role. Starting scanning\n");
        scan_start();
#else
        printk("\nUnknown device and role");
        return;
#endif
    }
    else
    {
        return;
    }

    /* The role has been selected, button are not needed any more. */
    err = dk_button_handler_remove(&button);
    if (err)
    {
        printk("Button disable error: %d\n", err);
    }
}

void buttons_init(void)
{
    int err;

    err = dk_buttons_init(NULL);
    if (err)
    {
        printk("Buttons initialization failed.\n");
        return;
    }

    /*
     * Add dynamic buttons handler.
     * Buttons should be activated only when
     * during the board role choosing.
     */
    dk_button_handler_add(&button);
}
```
